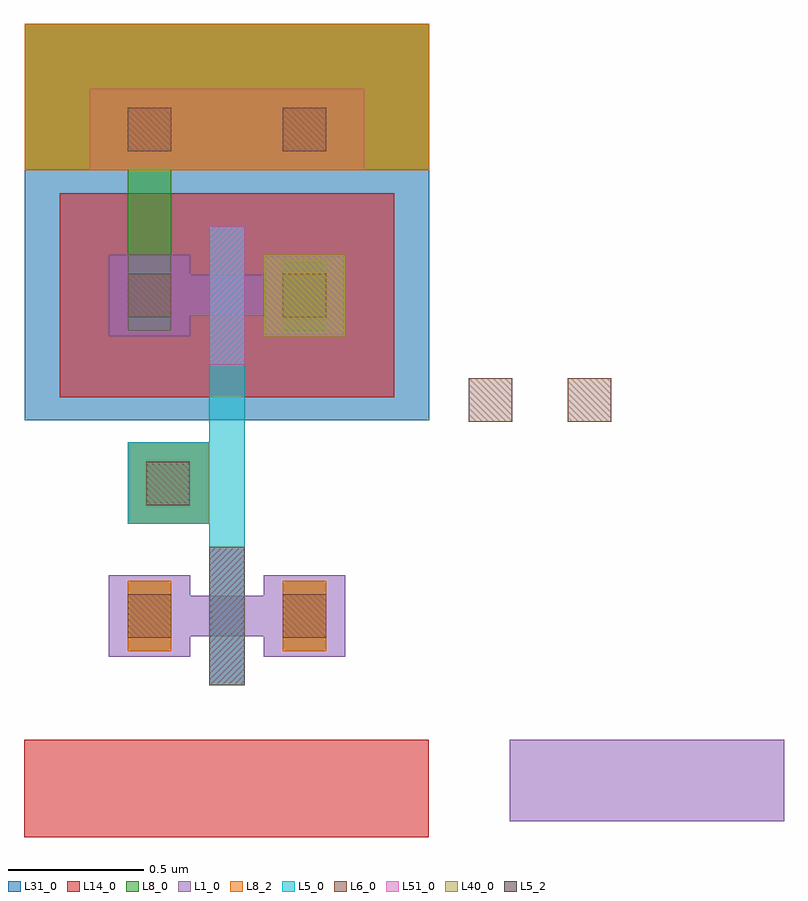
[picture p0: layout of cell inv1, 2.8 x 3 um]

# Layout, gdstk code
import gdstk
lib = gdstk.Library(unit=1e-6, precision=1e-09)
def R(c, l, rs):  # rectangles x0, y0, x1, y1
    for r in rs: c.add(gdstk.rectangle(r[:2], r[2:], *l))
L1_0 = (1, 0)
L5_0 = (5, 0)
L5_2 = (5, 2)
L6_0 = (6, 0)
L8_0 = (8, 0)
L8_2 = (8, 2)
L14_0 = (14, 0)
L31_0 = (31, 0)
L40_0 = (40, 0)
L51_0 = (51, 0)

nmos = lib.new_cell('nmos')
R(nmos, L1_0, [(0,0,0.3,0.3), (0.57,0,0.87,0.3), (0,0.075,0.87,0.225)])
R(nmos, L5_0, [(0.37,-0.105,0.5,0.405)])
R(nmos, L5_2, [(0.37,-0.105,0.5,0.405)])
R(nmos, L6_0, [(0.07,0.07,0.23,0.23), (0.64,0.07,0.8,0.23)])
R(nmos, L8_0, [(0.07,0.02,0.23,0.28), (0.64,0.02,0.8,0.28)])
R(nmos, L8_2, [(0.07,0.02,0.23,0.28), (0.64,0.02,0.8,0.28)])
R(nmos, L51_0, [(0.37,-0.105,0.5,0.405)])
nmos.add(gdstk.Label('nmos', (0.435,0.15), layer=63, texttype=0))
nmos.add(gdstk.Label('nmos', (0.435,0.15), layer=51, texttype=0))

pmos = lib.new_cell('pmos')
R(pmos, L1_0, [(0,0,0.3,0.3), (0.57,0,0.87,0.3), (0,0.075,0.87,0.225)])
R(pmos, L5_0, [(0.37,-0.105,0.5,0.405), (0.37,-0.105,0.5,0.405)])
R(pmos, L6_0, [(0.07,0.07,0.23,0.23), (0.64,0.07,0.8,0.23)])
R(pmos, L8_0, [(0.07,0.02,0.23,0.28), (0.07,0.02,0.23,0.28), (0.64,0.02,0.8,0.28), (0.64,0.02,0.8,0.28)])
R(pmos, L14_0, [(-0.18,-0.225,1.05,0.525)])
R(pmos, L31_0, [(-0.31,-0.31,1.18,0.61)])
R(pmos, L40_0, [(0.57,0,0.87,0.3)])
R(pmos, L51_0, [(0.37,-0.105,0.5,0.405)])
pmos.add(gdstk.Label('pmos', (0.435,0.15), layer=63, texttype=0))
pmos.add(gdstk.Label('pmos', (0.435,0.15), layer=51, texttype=0))

inv1 = lib.new_cell('inv1')
R(inv1, L1_0, [(3.055,0.245,4.065,0.545), (1.51,2.64,2.52,2.94)])
R(inv1, L5_0, [(1.95,0.745,2.08,2.435), (1.65,1.34,1.95,1.64)])
R(inv1, L6_0, [(1.718,1.408,1.878,1.568), (2.905,1.715,3.065,1.875), (3.27,1.715,3.43,1.875), (1.65,2.71,1.81,2.87), (2.22,2.71,2.38,2.87)])
R(inv1, L8_0, [(1.65,1.34,1.95,1.64), (1.65,2.05,1.81,2.94), (1.27,2.64,2.76,3.18)])
R(inv1, L8_2, [(1.65,1.34,1.95,1.64), (1.27,2.64,2.76,3.18)])
R(inv1, L14_0, [(1.268,0.185,2.758,0.545)])
R(inv1, L31_0, [(1.27,2.64,2.76,3.18)])
inv1.add(gdstk.Reference(nmos, (1.58,0.85)))
inv1.add(gdstk.Reference(pmos, (1.58,2.03)))

lib.write_gds('inv1.gds')
